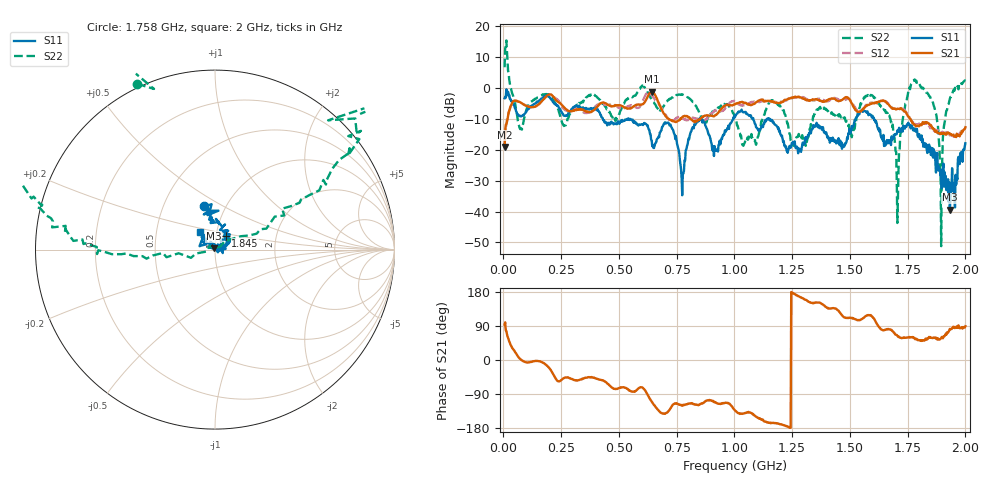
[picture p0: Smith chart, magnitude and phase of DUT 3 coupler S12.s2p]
! PocketVna 1.60  pocketvna.com
! Live measurements ((Reflection-S11, Transmission-S21, Transmission-S12, Reflection-S22) Linear 5000000-2000000000/800 calibrated)
# Hz S RI R 50
! Hz  ReS11  ImS11  ReS21  ImS21  ReS12  ImS12  ReS22  ImS22
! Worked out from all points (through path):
!   800 points, 5 MHz to 2 GHz, reference 50 ohm
!   highest |S21| = -1.17 dB at 641.7 MHz (marker M1); lowest = -19.1 dB at 5 MHz (marker M2)
!   group delay of S21, straight-line fit = 464 ps
!   lowest |S11| = -39.4 dB at 1.933 GHz (marker M3), VSWR 1.02, Z = 49.2 + j0.758 ohm
!   |S11| at or under -10 dB: 549.5 MHz to 850.3 MHz (300.8 MHz wide, 43 % of centre); 1.152 GHz to 1.525 GHz (373.1 MHz wide, 27.9 % of centre); 1.604 GHz to end of sweep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
!   |S22| runs from -51.2 to 15.4 dB; largest |S21 - S12| = 0.16
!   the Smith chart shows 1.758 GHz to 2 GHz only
!   S11 on the Smith chart (normalised r, x): 1.758 GHz: 0.79, +0.41; 1.845 GHz: 1.11, +0.17; 2 GHz: 0.83, +0.17
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5000000  0.6607 -0.1837  -0.00628 0.1111  0.0549 0.1009  2.174 -0.0246
1.748436e7  0.3789 -0.6882  0.1441 0.2768  0.1538 0.2743  -0.2675 -2.857
2.747184e7  -0.14 -0.6568  0.3163 0.3262  0.3124 0.3367  -0.3329 -1.144
9.98811e7  -0.3709 0.2078  0.5117 -0.0562  0.5176 -0.0515  -0.3085 0.3262
1.897685e8  -0.726 0.2304  0.7319 -0.2047  0.7243 -0.1832  -0.7874 0.1134
3.395807e8  -0.0623 0.4734  0.2883 -0.3404  0.2861 -0.3151  -0.1194 0.5807
6.417021e8  0.0765 0.1208  -0.2977 -0.8215  -0.2217 -0.7377  0.1498 0.6352
6.716646e8  0.1033 -0.1279  -0.3985 -0.424  -0.4078 -0.3797  0.3463 0.2882
7.765332e8  0.0279 0.0291  -0.1651 -0.3037  -0.1214 -0.2988  0.7798 -0.0679
8.364581e8  -0.1458 0.2319  -0.1378 -0.2601  -0.1273 -0.295  0.4899 -0.0318
1.003748e9  0.2547 0.2387  -0.388 -0.4027  -0.3502 -0.491  0.2269 -0.2238
1.335832e9  -0.0941 -0.1923  -0.5608 0.3128  -0.554 0.2868  -0.2838 0.0573
1.485645e9  -0.1088 -0.0819  -0.2545 0.6664  -0.1951 0.6346  0.2486 -0.1516
1.548066e9  -0.4232 0.0495  -0.1205 0.3999  -0.1385 0.4093  -0.4184 0.3484
1.667916e9  -0.0295 0.1285  0.0834 0.5361  0.089 0.5426  -0.1707 -0.3267
1.705369e9  -0.0928 0.1848  0.202 0.4125  0.1993 0.4184  -0.00586 -0.00291
1.757804e9  -0.0617 0.2406  0.16 0.2863  0.1629 0.2988  -0.4344 0.9239
1.787766e9  0.0195 0.2167  0.137 0.204  0.1568 0.2069  -1.162 0.6185
1.845194e9  0.0599 0.076  0.131 0.2188  0.1215 0.21  -0.733 0.0311
1.892635e9  0.0381 0.00167  0.1044 0.1573  0.104 0.1631  -0.0297 0.0216
1.932584e9  -0.00752 0.0077  0.0258 0.1833  0.0239 0.1694  0.5817 0.3308
2e9  -0.0821 0.098  0.00369 0.2323  0.00896 0.2296  0.8753 0.9698
